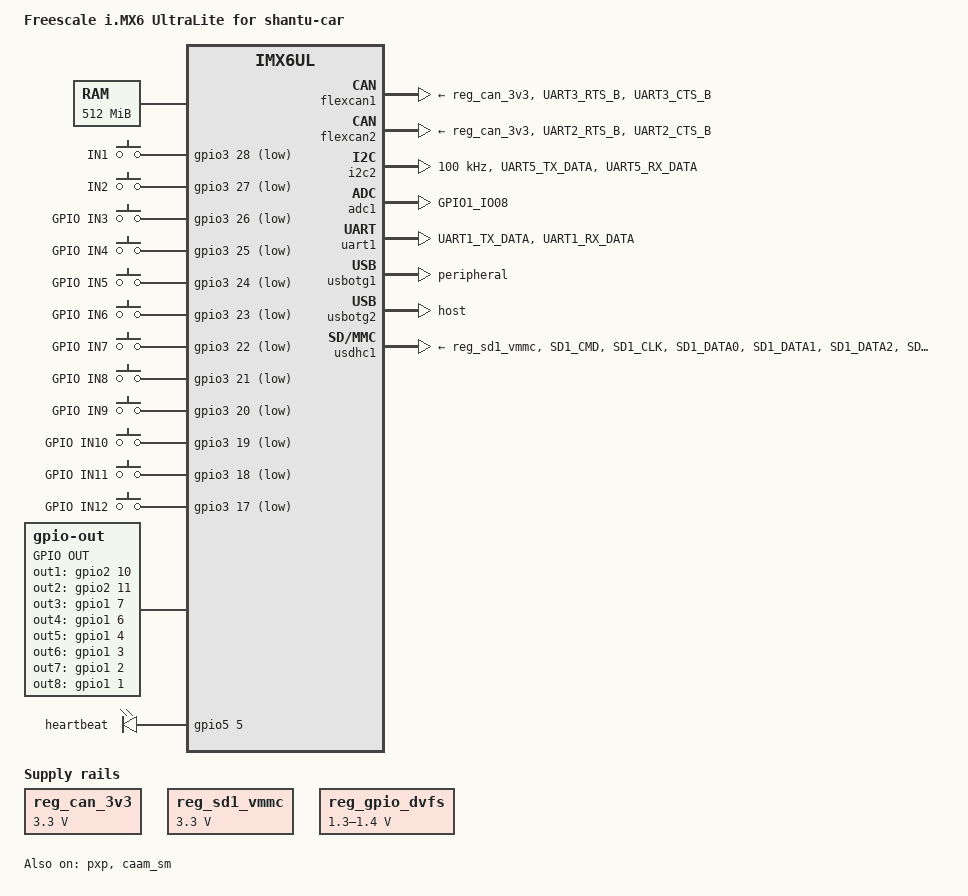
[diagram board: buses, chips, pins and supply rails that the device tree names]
/*
 * Copyright (C) 2015 Freescale Semiconductor, Inc.
 *
 * This program is free software; you can redistribute it and/or modify
 * it under the terms of the GNU General Public License version 2 as
 * published by the Free Software Foundation.
 */

/dts-v1/;

#include <dt-bindings/input/input.h>
#include "imx6ul.dtsi"

/ {
	model = "Freescale i.MX6 UltraLite for shantu-car";
	compatible = "fsl,imx6ul-14x14-evk", "fsl,imx6ul", "shantu-board";

	chosen {
		stdout-path = &uart1;
	};

	memory {
		reg = <0x80000000 0x20000000>;
	};

	reserved-memory {
		#address-cells = <1>;
		#size-cells = <1>;
		ranges;

		linux,cma {
			compatible = "shared-dma-pool";
			reusable;
			size = <0x14000000>;
			linux,cma-default;
		};
	};

	backlight {
		compatible = "pwm-backlight";
		pwms = <&pwm1 0 50000>;
		brightness-levels = <0 4 8 16 32 64 128 255>;
		default-brightness-level = <7>;
		status = "disable";
	};
	gpio-key {

		compatible = "gpio-keys";
		pinctrl-names = "default";
		pinctrl-0 = <&pinctrl_gpio_input>;

		/* autorepeat; */
		
		IN1 {
			lable = "GPIO IN1";
			linux,code = <1>;
			debounce-interval = <0>;
			gpios = <&gpio3 28 GPIO_ACTIVE_LOW>;
		};
		

		IN2 {
			lable = "GPIO IN2";
			linux,code = <2>;
			debounce-interval = <0>;
			gpios = <&gpio3 27 GPIO_ACTIVE_LOW>;
		};
		IN3 {
			label = "GPIO IN3";
			linux,code = <3>;
			debounce-interval = <0>;
			gpios = <&gpio3 26 GPIO_ACTIVE_LOW>;
		};
		IN4 {
			label = "GPIO IN4";
			linux,code = <4>;
			debounce-interval = <0>;
			gpios = <&gpio3 25 GPIO_ACTIVE_LOW>;
		};
		IN5 {
			label = "GPIO IN5";
			linux,code = <5>;
			debounce-interval = <0>;
			gpios = <&gpio3 24 GPIO_ACTIVE_LOW>;
		};
		IN6 {
			label = "GPIO IN6";
			linux,code = <6>;
			debounce-interval = <0>;
			gpios = <&gpio3 23 GPIO_ACTIVE_LOW>;
		};
		IN7 {
			label = "GPIO IN7";
			linux,code = <7>;
			debounce-interval = <0>;
			gpios = <&gpio3 22 GPIO_ACTIVE_LOW>;
		};

		IN8 {
			label = "GPIO IN8";
			linux,code = <8>;
			debounce-interval = <0>;
			gpios = <&gpio3 21 GPIO_ACTIVE_LOW>;
		};

		IN9 {
			label = "GPIO IN9";
			linux,code = <9>;
			debounce-interval = <0>;
			gpios = <&gpio3 20 GPIO_ACTIVE_LOW>;
		};
		IN10 {
			label = "GPIO IN10";
			linux,code = <10>;
			debounce-interval = <0>;
			gpios = <&gpio3 19 GPIO_ACTIVE_LOW>;
		};
		IN11 {
			label = "GPIO IN11";
			linux,code = <11>;
			debounce-interval = <0>;
			gpios = <&gpio3 18 GPIO_ACTIVE_LOW>;
		};
		IN12 {
			label = "GPIO IN12";
			linux,code = <12>;
			debounce-interval = <0>;
			gpios = <&gpio3 17 GPIO_ACTIVE_LOW>;
		};
	};
	
	gpio-out {
		compatible = "gpio-out";

		pinctrl-names = "default";
		pinctrl-0 = <&pinctrl_gpio_output>;

		label = "GPIO OUT";
		gpionum = <11>;
		out1-gpio = <&gpio2 10 GPIO_ACTIVE_HIGH>;
		out2-gpio = <&gpio2 11 GPIO_ACTIVE_HIGH>;
		out3-gpio = <&gpio1 7 GPIO_ACTIVE_HIGH>;
		out4-gpio = <&gpio1 6 GPIO_ACTIVE_HIGH>;
		out5-gpio = <&gpio1 4 GPIO_ACTIVE_HIGH>;
		out6-gpio = <&gpio1 3 GPIO_ACTIVE_HIGH>;
		out7-gpio = <&gpio1 2 GPIO_ACTIVE_HIGH>;
		out8-gpio = <&gpio1 1 GPIO_ACTIVE_HIGH>;
		out9-gpio = <&gpio1 0 GPIO_ACTIVE_HIGH>;
		out10-gpio = <&gpio1 28 GPIO_ACTIVE_HIGH>;
		out11-gpio = <&gpio1 29 GPIO_ACTIVE_LOW>;
	};

	
	
	leds {
		compatible = "gpio-leds";
		pinctrl-names = "default";
		status = "okay";

		led3{
			label = "heartbeat";
			gpios = <&gpio5 5 0>;
			linux,default-trigger = "heartbeat";
		};
	};	

	pxp_v4l2 {
		compatible = "fsl,imx6ul-pxp-v4l2", "fsl,imx6sx-pxp-v4l2", "fsl,imx6sl-pxp-v4l2";
		status = "okay";
	};
	
	regulators {
		compatible = "simple-bus";
		#address-cells = <1>;
		#size-cells = <0>;

		reg_can_3v3: regulator@0 {
			compatible = "regulator-fixed";
			reg = <0>;
			regulator-name = "can-3v3";
			regulator-min-microvolt = <3300000>;
			regulator-max-microvolt = <3300000>;
/*			gpios = <&gpio_spi 3 GPIO_ACTIVE_LOW>; */
		};

		reg_sd1_vmmc: regulator@1 {
			compatible = "regulator-fixed";
			regulator-name = "VSD_3V3";
			regulator-min-microvolt = <3300000>;
			regulator-max-microvolt = <3300000>;
                        /*gpio = <&gpio1 9 GPIO_ACTIVE_HIGH>;
			enable-active-high; */
		};

		reg_gpio_dvfs: regulator-gpio {
			compatible = "regulator-gpio";
			pinctrl-names = "default";
			pinctrl-0 = <&pinctrl_dvfs>;
			regulator-min-microvolt = <1300000>;
			regulator-max-microvolt = <1400000>;
			regulator-name = "gpio_dvfs";
			regulator-type = "voltage";
			gpios = <&gpio5 3 GPIO_ACTIVE_HIGH>;
			states = <1300000 0x1 1400000 0x0>;
		};
		/*
	       reg_usb_otg1_vbus: regulator@2 {
			compatible = "regulator-fixed";
		        reg = <2>;
		        pinctrl-names = "default";
		        pinctrl-0 = <&pinctrl_usb_otg1>;
		        regulator-name = "usb_otg1_vbus";
		        regulator-min-microvolt = <5000000>;
		        regulator-max-microvolt = <5000000>;
		        gpio = <&gpio3 2 GPIO_ACTIVE_HIGH>;
		        enable-active-high;
		 };
		 */
	};

	spi4 {
		compatible = "spi-gpio";
		pinctrl-names = "default";
		pinctrl-0 = <&pinctrl_spi4>;
		pinctrl-assert-gpios = <&gpio5 8 GPIO_ACTIVE_LOW>;
		
		gpio-sck = <&gpio5 11 0>;
		gpio-mosi = <&gpio5 10 0>;
		cs-gpios = <&gpio5 7 0>;
		num-chipselects = <1>;
		#address-cells = <1>;
		#size-cells = <0>;

		status = "disable";

		/*
		gpio_spi: gpio_spi@0 {
			compatible = "fairchild,74hc595";
			gpio-controller;
			#gpio-cells = <2>;
			reg = <0>;
			registers-number = <1>;
			registers-default = /bits/ 8 <0x86>;
			spi-max-frequency = <100000>;
		};
		*/
	};
};

&cpu0 {
	arm-supply = <&reg_arm>;
	soc-supply = <&reg_soc>;
	dc-supply = <&reg_gpio_dvfs>;
};

&clks {
	assigned-clocks = <&clks IMX6UL_CLK_PLL4_AUDIO_DIV>;
	assigned-clock-rates = <722534400>;
};

&flexcan1 {
	pinctrl-names = "default";
	pinctrl-0 = <&pinctrl_flexcan1>;
	xceiver-supply = <&reg_can_3v3>;
	bit-timing = <1000000>;
	status = "okay";
};

&flexcan2 {
	pinctrl-names = "default";
	pinctrl-0 = <&pinctrl_flexcan2>;
	xceiver-supply = <&reg_can_3v3>;
	bit-timing = <1000000>;
	status = "okay";
};

&gpc {
	fsl,cpu_pupscr_sw2iso = <0x1>;
	fsl,cpu_pupscr_sw = <0x0>;
	fsl,cpu_pdnscr_iso2sw = <0x1>;
	fsl,cpu_pdnscr_iso = <0x1>;
	fsl,wdog-reset = <1>; /* watchdog select of reset source */
	fsl,ldo-bypass = <0>; /* DCDC, ldo-enable */
};

&i2c1 {
	clock-frequency = <100000>;
	pinctrl-names = "default";
	pinctrl-0 = <&pinctrl_i2c1>;
	status = "disable";
};

&i2c2 {
	clock-frequency = <100000>;
	pinctrl-names = "default";
	pinctrl-0 = <&pinctrl_i2c2>;
	status = "okay";

	#address-cells = <1>;
	#size-cells = <0>;
    status = "okay";

	/*
    mpu6050@68 {
        compatible = "invensense,mpu6050";
        reg = <0x68>;
        mount-matrix = "-1, 0, 0; 0, -1, 0; 0, 0, -1"; // rotate 180 degrees
    };
	*/
};

&adc1{
	pinctrl-names = "default";
	pinctrl-0 = <&pinctrl_adc1_in>;
	status = "okay";
};

&iomuxc {
	pinctrl-names = "default";
	pinctrl-0 = <&pinctrl_hog_1>;
	imx6ul-evk {
		pinctrl_hog_1: hoggrp-1 {
			fsl,pins = <
			/*	MX6UL_PAD_LCD_RESET__WDOG1_WDOG_ANY    0x30b0 */
				MX6UL_PAD_UART1_RTS_B__GPIO1_IO19	0x17059  /* SD1 CD */
			/*	MX6UL_PAD_UART1_RTS_B__GPIO1_IO19	0x1b0b1 */
				MX6UL_PAD_GPIO1_IO05__USDHC1_VSELECT	0x17059 /* SD1 VSELECT */
				MX6UL_PAD_CSI_DATA00__GPIO4_IO21		0x130b1
				MX6UL_PAD_CSI_DATA01__GPIO4_IO22		0x130b1
				MX6UL_PAD_CSI_DATA02__GPIO4_IO23		0x130b1
				MX6UL_PAD_CSI_DATA03__GPIO4_IO24		0x130b1
				/* MX6UL_PAD_GPIO1_IO02__GPIO1_IO02	0xb0 */
				/* MX6UL_PAD_GPIO1_IO01__GPIO1_IO01	0xb0 */
				MX6UL_PAD_UART1_CTS_B__GPIO1_IO18    0xb0
				MX6UL_PAD_CSI_VSYNC__GPIO4_IO19      0x1b038
				MX6UL_PAD_CSI_HSYNC__GPIO4_IO20      0x1b038
				MX6UL_PAD_SNVS_TAMPER9__GPIO5_IO09	0x70a1
				MX6UL_PAD_GPIO1_IO09__GPIO1_IO09	0xb0
			>;
		};

		pinctrl_dvfs: dvfsgrp {
			fsl,pins = <
				MX6UL_PAD_SNVS_TAMPER3__GPIO5_IO03	0x79
			>;
		};
		/*
		pinctrl_usb_otg1_id: usbotg1idgrp {
		        fsl,pins = <
	             		MX6UL_PAD_GPIO1_IO00__ANATOP_OTG1_ID    0x17059
	              >;
	        };
			*/
			/*
		pinctrl_usb_otg1: usbotg1grp {
			fsl,pins = <
				MX6UL_PAD_LCD_HSYNC__GPIO3_IO02			0x10b0
                  >;
                };
		*/
		pinctrl_flexcan1: flexcan1grp{
			fsl,pins = <
				MX6UL_PAD_UART3_RTS_B__FLEXCAN1_RX	0x1b020
				MX6UL_PAD_UART3_CTS_B__FLEXCAN1_TX	0x1b020
			>;
		};

		pinctrl_flexcan2: flexcan2grp{
			fsl,pins = <
				MX6UL_PAD_UART2_RTS_B__FLEXCAN2_RX	0x1b020
				MX6UL_PAD_UART2_CTS_B__FLEXCAN2_TX	0x1b020
			>;
		};

		pinctrl_i2c1: i2c1grp {
			fsl,pins = <
				MX6UL_PAD_CSI_PIXCLK__I2C1_SCL    0x4001b8b0
				MX6UL_PAD_CSI_MCLK__I2C1_SDA      0x4001b8b0

			>;
		};

		pinctrl_i2c2: i2c2grp {
			fsl,pins = <
				MX6UL_PAD_UART5_TX_DATA__I2C2_SCL 0x4001b8b0
				MX6UL_PAD_UART5_RX_DATA__I2C2_SDA 0x4001b8b0
			>;
		};
		
		/*
		pinctrl_lcdif_dat: lcdifdatgrp{
			fsl,pins = <>;
		};

		pinctrl_lcdif_ctrl: lcdifctrlgrp{
			fsl,pins = <>;
		};
		*/


		pinctrl_pwm1: pwm1grp {
			fsl,pins = <
				MX6UL_PAD_GPIO1_IO08__PWM1_OUT   0x110b0
			>;
		};

		pinctrl_nand: nandgrp {
			fsl,pins = <
				MX6UL_PAD_NAND_RE_B__RAWNAND_RE_B 0x70a1
				MX6UL_PAD_NAND_WE_B__RAWNAND_WE_B 0x70a1
				MX6UL_PAD_NAND_DATA00__RAWNAND_DATA00 0x70a1
				MX6UL_PAD_NAND_DATA01__RAWNAND_DATA01 0x70a1
				MX6UL_PAD_NAND_DATA02__RAWNAND_DATA02 0x70a1
				MX6UL_PAD_NAND_DATA03__RAWNAND_DATA03 0x70a1
				MX6UL_PAD_NAND_DATA04__RAWNAND_DATA04 0x70a1
				MX6UL_PAD_NAND_DATA05__RAWNAND_DATA05 0x70a1
				MX6UL_PAD_NAND_DATA06__RAWNAND_DATA06 0x70a1
				MX6UL_PAD_NAND_DATA07__RAWNAND_DATA07 0x70a1
				MX6UL_PAD_NAND_ALE__RAWNAND_ALE 0x70a1
				MX6UL_PAD_NAND_WP_B__RAWNAND_WP_B 0x70a1
				MX6UL_PAD_NAND_READY_B__RAWNAND_READY_B 0x70a1
				MX6UL_PAD_NAND_CE0_B__RAWNAND_CE0_B 0x70a1
				MX6UL_PAD_NAND_CLE__RAWNAND_CLE 0x70a1
			>;
		};



		pinctrl_spi4: spi4grp {
			fsl,pins = <
				MX6UL_PAD_BOOT_MODE0__GPIO5_IO10	0x70a1
				MX6UL_PAD_BOOT_MODE1__GPIO5_IO11	0x70a1
				MX6UL_PAD_SNVS_TAMPER7__GPIO5_IO07	0x70a1
				MX6UL_PAD_SNVS_TAMPER8__GPIO5_IO08	0x80000000
			>;
		};

		pinctrl_gpio_input:userinputgrp{
			 fsl,pins = <
				MX6UL_PAD_LCD_DATA23__GPIO3_IO28 		0x1b0b1
				MX6UL_PAD_LCD_DATA22__GPIO3_IO27		0X1b0b1
				MX6UL_PAD_LCD_DATA21__GPIO3_IO26		0x1b0b1
				MX6UL_PAD_LCD_DATA20__GPIO3_IO25		0x1b0b1
				MX6UL_PAD_LCD_DATA19__GPIO3_IO24		0x1b0b1
				MX6UL_PAD_LCD_DATA18__GPIO3_IO23		0x1b0b1
				MX6UL_PAD_LCD_DATA17__GPIO3_IO22		0x1b0b1
				MX6UL_PAD_LCD_DATA16__GPIO3_IO21		0x1b0b1
				MX6UL_PAD_LCD_DATA15__GPIO3_IO20		0x1b0b1
				MX6UL_PAD_LCD_DATA14__GPIO3_IO19		0x1b0b1
				MX6UL_PAD_LCD_DATA13__GPIO3_IO18		0x1b0b1
				MX6UL_PAD_LCD_DATA12__GPIO3_IO17		0x1b0b1
			 >;
		 };	

		 pinctrl_gpio_output:useroutputgrp{
			 fsl,pins = <
			 	MX6UL_PAD_ENET2_RX_EN__GPIO2_IO10		0x1b0b1
				MX6UL_PAD_ENET2_TX_DATA0__GPIO2_IO11		0x1b0b1
				MX6UL_PAD_GPIO1_IO07__GPIO1_IO07		0x1b0b1
				MX6UL_PAD_GPIO1_IO06__GPIO1_IO06		0x1b0b1
				MX6UL_PAD_GPIO1_IO04__GPIO1_IO04		0x1b0b1
				MX6UL_PAD_GPIO1_IO03__GPIO1_IO03		0x1b0b1
				MX6UL_PAD_GPIO1_IO02__GPIO1_IO02		0x1b0b1
				MX6UL_PAD_GPIO1_IO01__GPIO1_IO01		0x1b0b1
				MX6UL_PAD_GPIO1_IO00__GPIO1_IO00		0x1b0b1
				MX6UL_PAD_UART4_TX_DATA__GPIO1_IO28		0x1b0b1
				MX6UL_PAD_UART4_RX_DATA__GPIO1_IO29		0x1b0b1

			 >;
		 };
		 pinctrl_adc1_in:useradcgrp{
			fsl,pins = <
				MX6UL_PAD_GPIO1_IO08__GPIO1_IO08 		0x70a1
			>;
		 };

		pinctrl_uart1: uart1grp {
			fsl,pins = <
				MX6UL_PAD_UART1_TX_DATA__UART1_DCE_TX 0x1b0b1
				MX6UL_PAD_UART1_RX_DATA__UART1_DCE_RX 0x1b0b1
			>;
		};

		pinctrl_uart2: uart2grp {
			fsl,pins = <
				MX6UL_PAD_UART2_TX_DATA__UART2_DCE_TX	0x1b0b1
				MX6UL_PAD_UART2_RX_DATA__UART2_DCE_RX	0x1b0b1
		/*		MX6UL_PAD_UART3_RX_DATA__UART2_DCE_RTS	0x1b0b1
				MX6UL_PAD_UART3_TX_DATA__UART2_DCE_CTS	0x1b0b1   */
			>;
		};

		pinctrl_uart2dte: uart2dtegrp {
			fsl,pins = <
				MX6UL_PAD_UART2_TX_DATA__UART2_DTE_RX	0x1b0b1
				MX6UL_PAD_UART2_RX_DATA__UART2_DTE_TX	0x1b0b1
				MX6UL_PAD_UART3_RX_DATA__UART2_DTE_CTS	0x1b0b1
				MX6UL_PAD_UART3_TX_DATA__UART2_DTE_RTS	0x1b0b1
			>;
		};

		pinctrl_uart3: uart3grp {
			fsl,pins = <
				MX6UL_PAD_UART3_TX_DATA__UART3_DCE_TX 0x1b0b1
				MX6UL_PAD_UART3_RX_DATA__UART3_DCE_RX 0x1b0b1
			>;
		};
		pinctrl_uart4: uart4grp {
			fsl,pins = <
				MX6UL_PAD_UART4_RX_DATA__UART4_DCE_RX	0x1f0b1
				MX6UL_PAD_UART4_TX_DATA__UART4_DCE_TX	0x1f0b1
			>;			   
		 };
		pinctrl_uart5: uart5grp {
			fsl,pins = <
				MX6UL_PAD_UART5_RX_DATA__UART5_DCE_RX	0x1b0b1
				MX6UL_PAD_UART5_TX_DATA__UART5_DCE_TX	0x1b0b1
			>;			   
		 };
		pinctrl_usdhc1: usdhc1grp {
			fsl,pins = <
				MX6UL_PAD_SD1_CMD__USDHC1_CMD     0x17059
				MX6UL_PAD_SD1_CLK__USDHC1_CLK     0x10071
				MX6UL_PAD_SD1_DATA0__USDHC1_DATA0 0x17059
				MX6UL_PAD_SD1_DATA1__USDHC1_DATA1 0x17059
				MX6UL_PAD_SD1_DATA2__USDHC1_DATA2 0x17059
				MX6UL_PAD_SD1_DATA3__USDHC1_DATA3 0x17059
			>;
		};

		pinctrl_usdhc1_100mhz: usdhc1grp100mhz {
			fsl,pins = <
				MX6UL_PAD_SD1_CMD__USDHC1_CMD     0x170b9
				MX6UL_PAD_SD1_CLK__USDHC1_CLK     0x100b9
				MX6UL_PAD_SD1_DATA0__USDHC1_DATA0 0x170b9
				MX6UL_PAD_SD1_DATA1__USDHC1_DATA1 0x170b9
				MX6UL_PAD_SD1_DATA2__USDHC1_DATA2 0x170b9
				MX6UL_PAD_SD1_DATA3__USDHC1_DATA3 0x170b9
			>;
		};

		pinctrl_usdhc1_200mhz: usdhc1grp200mhz {
			fsl,pins = <
				MX6UL_PAD_SD1_CMD__USDHC1_CMD     0x170f9
				MX6UL_PAD_SD1_CLK__USDHC1_CLK     0x100f9
				MX6UL_PAD_SD1_DATA0__USDHC1_DATA0 0x170f9
				MX6UL_PAD_SD1_DATA1__USDHC1_DATA1 0x170f9
				MX6UL_PAD_SD1_DATA2__USDHC1_DATA2 0x170f9
				MX6UL_PAD_SD1_DATA3__USDHC1_DATA3 0x170f9
			>;
		};

		pinctrl_usdhc2: usdhc2grp {
			fsl,pins = <
				MX6UL_PAD_NAND_RE_B__USDHC2_CLK     0x10069
				MX6UL_PAD_NAND_WE_B__USDHC2_CMD     0x17059
				MX6UL_PAD_NAND_DATA00__USDHC2_DATA0 0x17059
				MX6UL_PAD_NAND_DATA01__USDHC2_DATA1 0x17059
				MX6UL_PAD_NAND_DATA02__USDHC2_DATA2 0x17059
				MX6UL_PAD_NAND_DATA03__USDHC2_DATA3 0x17059
			>;
		};

		pinctrl_usdhc2_8bit: usdhc2grp_8bit {
			fsl,pins = <
				MX6UL_PAD_NAND_RE_B__USDHC2_CLK     0x10069
				MX6UL_PAD_NAND_WE_B__USDHC2_CMD     0x17059
				MX6UL_PAD_NAND_DATA00__USDHC2_DATA0 0x17059
				MX6UL_PAD_NAND_DATA01__USDHC2_DATA1 0x17059
				MX6UL_PAD_NAND_DATA02__USDHC2_DATA2 0x17059
				MX6UL_PAD_NAND_DATA03__USDHC2_DATA3 0x17059
				MX6UL_PAD_NAND_DATA04__USDHC2_DATA4 0x17059
				MX6UL_PAD_NAND_DATA05__USDHC2_DATA5 0x17059
				MX6UL_PAD_NAND_DATA06__USDHC2_DATA6 0x17059
				MX6UL_PAD_NAND_DATA07__USDHC2_DATA7 0x17059
			>;
		};

		pinctrl_usdhc2_8bit_100mhz: usdhc2grp_8bit_100mhz {
			fsl,pins = <
				MX6UL_PAD_NAND_RE_B__USDHC2_CLK     0x100b9
				MX6UL_PAD_NAND_WE_B__USDHC2_CMD     0x170b9
				MX6UL_PAD_NAND_DATA00__USDHC2_DATA0 0x170b9
				MX6UL_PAD_NAND_DATA01__USDHC2_DATA1 0x170b9
				MX6UL_PAD_NAND_DATA02__USDHC2_DATA2 0x170b9
				MX6UL_PAD_NAND_DATA03__USDHC2_DATA3 0x170b9
				MX6UL_PAD_NAND_DATA04__USDHC2_DATA4 0x170b9
				MX6UL_PAD_NAND_DATA05__USDHC2_DATA5 0x170b9
				MX6UL_PAD_NAND_DATA06__USDHC2_DATA6 0x170b9
				MX6UL_PAD_NAND_DATA07__USDHC2_DATA7 0x170b9
			>;
		};

		pinctrl_usdhc2_8bit_200mhz: usdhc2grp_8bit_200mhz {
			fsl,pins = <
				MX6UL_PAD_NAND_RE_B__USDHC2_CLK     0x100f9
				MX6UL_PAD_NAND_WE_B__USDHC2_CMD     0x170f9
				MX6UL_PAD_NAND_DATA00__USDHC2_DATA0 0x170f9
				MX6UL_PAD_NAND_DATA01__USDHC2_DATA1 0x170f9
				MX6UL_PAD_NAND_DATA02__USDHC2_DATA2 0x170f9
				MX6UL_PAD_NAND_DATA03__USDHC2_DATA3 0x170f9
				MX6UL_PAD_NAND_DATA04__USDHC2_DATA4 0x170f9
				MX6UL_PAD_NAND_DATA05__USDHC2_DATA5 0x170f9
				MX6UL_PAD_NAND_DATA06__USDHC2_DATA6 0x170f9
				MX6UL_PAD_NAND_DATA07__USDHC2_DATA7 0x170f9
			>;
		};
		pinctrl_wdog: wdoggrp {
			fsl,pins = <
				MX6UL_PAD_LCD_RESET__WDOG1_WDOG_ANY    0x30b0
			>;
		};
	};
};

&pwm1 {
	pinctrl-names = "default";
	pinctrl-0 = <&pinctrl_pwm1>;
	status = "disable";
};

&pxp {
	status = "okay";
};

&uart1 {
	pinctrl-names = "default";
	pinctrl-0 = <&pinctrl_uart1>;
	status = "okay";
};

&uart2 {
	pinctrl-names = "default";
	pinctrl-0 = <&pinctrl_uart2>;
	/* fsl,uart-has-rtscts; */
	/* for DTE mode, add below change */
	/* fsl,dte-mode; */
	/* pinctrl-0 = <&pinctrl_uart2dte>; */
	status = "disable";
};
&uart3 {
	pinctrl-names = "default";
	pinctrl-0 = <&pinctrl_uart3>;
	status = "disable";
};
&uart4 {
	pinctrl-names = "default";
	pinctrl-0 = <&pinctrl_uart4>;
	status = "disable";
	
};
&uart5 {
	pinctrl-names = "default";
	pinctrl-0 = <&pinctrl_uart5>;
	status = "disable";
};

&usbotg1 {
	/*
	vbus-supply = <&reg_usb_otg1_vbus>;
	pinctrl-names = "default";
        pinctrl-0 = <&pinctrl_usb_otg1_id>;
		*/
	dr_mode = "peripheral";
	disable-over-current;
	srp-disable;
	hnp-disable;
	adp-disable;
	status = "okay";
};

&usbotg2 {
	dr_mode = "host";
	disable-over-current;
	status = "okay";
};

&usbphy1 {
	tx-d-cal = <0x5>;
};

&usbphy2 {
	tx-d-cal = <0x5>;
};

&usdhc1 {
	pinctrl-names = "default", "state_100mhz", "state_200mhz";
	pinctrl-0 = <&pinctrl_usdhc1>;
	pinctrl-1 = <&pinctrl_usdhc1_100mhz>;
	pinctrl-2 = <&pinctrl_usdhc1_200mhz>;
        /* cd-gpios = <&gpio1 19 GPIO_ACTIVE_LOW>; */
	keep-power-in-suspend;
	vmmc-supply = <&reg_sd1_vmmc>;
	status = "okay";
};

&usdhc2 {
	pinctrl-names = "default";
	pinctrl-0 = <&pinctrl_usdhc2>;
	non-removable;
	keep-power-in-suspend;
	status = "disable";
};

&wdog1 {
	pinctrl-names = "default";
	pinctrl-0 = <&pinctrl_wdog>;
	fsl,wdog_b;
};
&fec2 {
	status = "disable";
};
&fec1 {
	status = "disable";
};
&caam_sm {
	status = "okay";
};
&lcdif{
	status = "disable";
};
